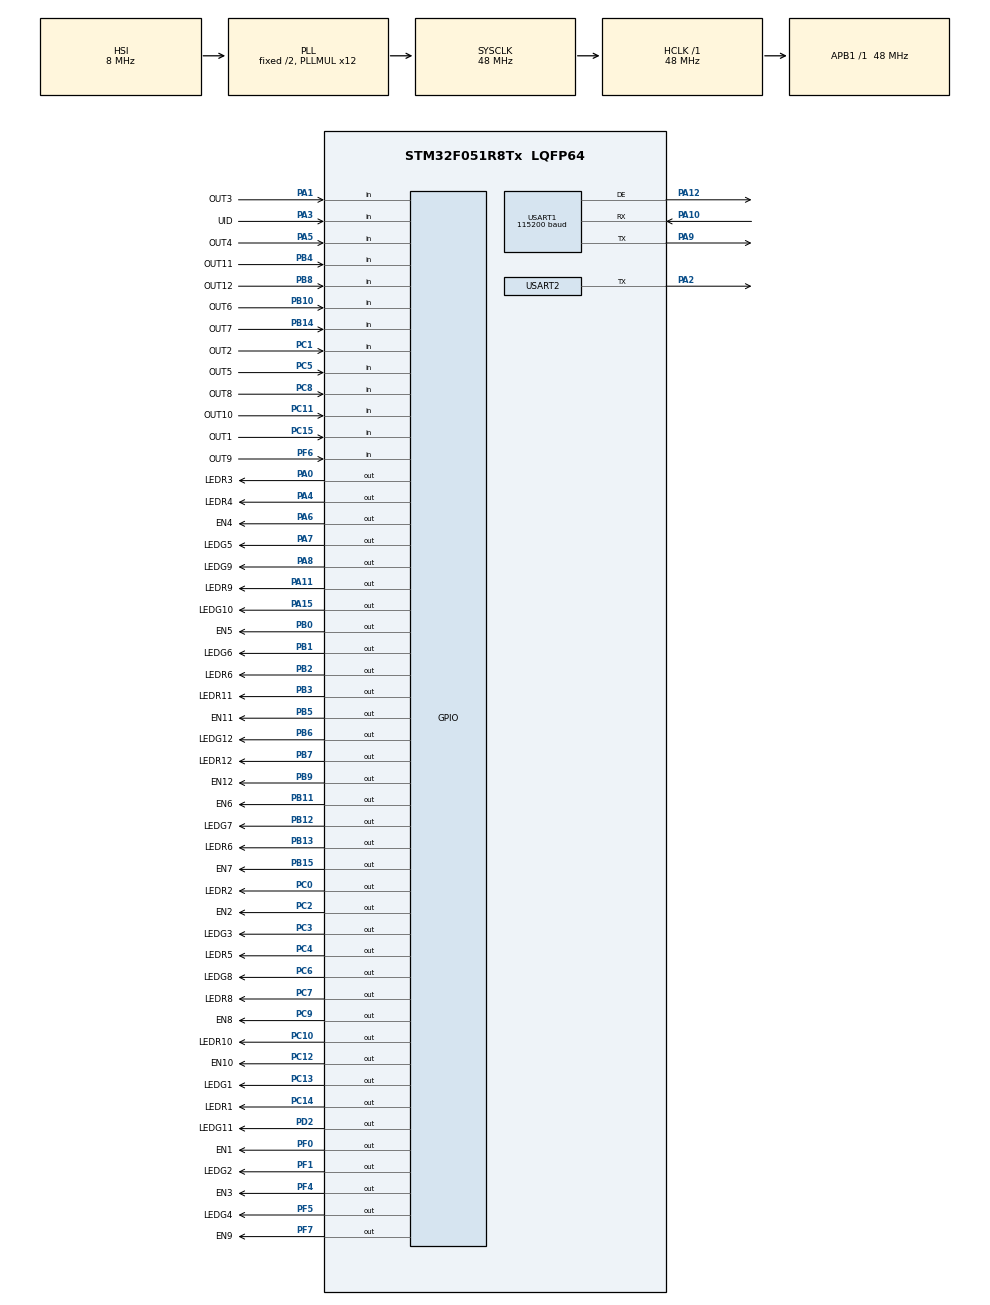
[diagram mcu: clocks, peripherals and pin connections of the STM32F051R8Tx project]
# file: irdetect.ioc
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Dma.Request0=USART1_RX
Dma.USART1_RX.0.Direction=DMA_PERIPH_TO_MEMORY
Dma.USART1_RX.0.Instance=DMA1_Channel3
Dma.USART1_RX.0.MemDataAlignment=DMA_MDATAALIGN_BYTE
Dma.USART1_RX.0.MemInc=DMA_MINC_ENABLE
Dma.USART1_RX.0.Mode=DMA_NORMAL
Dma.USART1_RX.0.PeriphDataAlignment=DMA_PDATAALIGN_BYTE
Dma.USART1_RX.0.PeriphInc=DMA_PINC_DISABLE
Dma.USART1_RX.0.Priority=DMA_PRIORITY_LOW
IWDG.Prescaler=IWDG_PRESCALER_32
IWDG.Reload=3750
IWDG.Window=3750
Mcu.Family=STM32F0
Mcu.Name=STM32F051R8Tx
Mcu.Package=LQFP64
NVIC.DMA1_Channel2_3_IRQn=true\:0\:0\:false\:false\:true\:false\:true\:true
NVIC.TIM14_IRQn=true\:1\:0\:true\:false\:true\:true\:true\:true
NVIC.USART1_IRQn=true\:0\:0\:false\:false\:true\:true\:true\:true
PA0.GPIO_Label=LEDR3
PA0.GPIO_Speed=GPIO_SPEED_FREQ_HIGH
PA0.Signal=GPIO_Output
PA1.GPIO_Label=OUT3
PA1.GPIO_PuPd=GPIO_PULLUP
PA1.Signal=GPIO_Input
PA10.Mode=Asynchronous
PA10.Signal=USART1_RX
PA11.GPIO_Label=LEDR9
PA11.GPIO_Speed=GPIO_SPEED_FREQ_HIGH
PA11.Signal=GPIO_Output
PA12.Mode=Hardware Flow Control (RS485)
PA12.Signal=USART1_DE
PA15.GPIO_Label=LEDG10
PA15.GPIO_Speed=GPIO_SPEED_FREQ_HIGH
PA15.Signal=GPIO_Output
PA2.Mode=Half_duplex(single_wire_mode)
PA2.Signal=USART2_TX
PA3.GPIO_Label=UID
PA3.GPIO_PuPd=GPIO_PULLUP
PA3.Signal=GPIO_Input
PA4.GPIO_Label=LEDR4
PA4.GPIO_Speed=GPIO_SPEED_FREQ_HIGH
PA4.Signal=GPIO_Output
PA5.GPIO_Label=OUT4
PA5.GPIO_PuPd=GPIO_PULLUP
PA5.Signal=GPIO_Input
PA6.GPIO_Label=EN4
PA6.GPIO_Speed=GPIO_SPEED_FREQ_HIGH
PA6.Signal=GPIO_Output
PA7.GPIO_Label=LEDG5
PA7.GPIO_Speed=GPIO_SPEED_FREQ_HIGH
PA7.Signal=GPIO_Output
PA8.GPIO_Label=LEDG9
PA8.GPIO_Speed=GPIO_SPEED_FREQ_HIGH
PA8.Signal=GPIO_Output
PA9.Mode=Asynchronous
PA9.Signal=USART1_TX
PB0.GPIO_Label=EN5
PB0.GPIO_Speed=GPIO_SPEED_FREQ_HIGH
PB0.Signal=GPIO_Output
PB1.GPIO_Label=LEDG6
PB1.GPIO_Speed=GPIO_SPEED_FREQ_HIGH
PB1.Signal=GPIO_Output
PB10.GPIO_Label=OUT6
PB10.GPIO_PuPd=GPIO_PULLUP
PB10.Signal=GPIO_Input
PB11.GPIO_Label=EN6
PB11.GPIO_Speed=GPIO_SPEED_FREQ_HIGH
PB11.Signal=GPIO_Output
PB12.GPIO_Label=LEDG7
PB12.GPIO_Speed=GPIO_SPEED_FREQ_HIGH
PB12.Signal=GPIO_Output
PB13.GPIO_Label=LEDR6
PB13.GPIO_Speed=GPIO_SPEED_FREQ_HIGH
PB13.Signal=GPIO_Output
PB14.GPIO_Label=OUT7
PB14.GPIO_PuPd=GPIO_PULLUP
PB14.Signal=GPIO_Input
PB15.GPIO_Label=EN7
PB15.GPIO_Speed=GPIO_SPEED_FREQ_HIGH
PB15.Signal=GPIO_Output
PB2.GPIO_Label=LEDR6
PB2.GPIO_Speed=GPIO_SPEED_FREQ_HIGH
PB2.Signal=GPIO_Output
PB3.GPIO_Label=LEDR11
PB3.GPIO_Speed=GPIO_SPEED_FREQ_HIGH
PB3.Signal=GPIO_Output
PB4.GPIO_Label=OUT11
PB4.GPIO_PuPd=GPIO_PULLUP
PB4.Signal=GPIO_Input
PB5.GPIO_Label=EN11
PB5.GPIO_Speed=GPIO_SPEED_FREQ_HIGH
PB5.Signal=GPIO_Output
PB6.GPIO_FM6=__NULL
PB6.GPIO_Label=LEDG12
PB6.GPIO_Speed=GPIO_SPEED_FREQ_HIGH
PB6.Signal=GPIO_Output
PB7.GPIO_FM7=__NULL
PB7.GPIO_Label=LEDR12
PB7.GPIO_Speed=GPIO_SPEED_FREQ_HIGH
PB7.Signal=GPIO_Output
PB8.GPIO_Label=OUT12
PB8.GPIO_PuPd=GPIO_PULLUP
PB8.Signal=GPIO_Input
PB9.GPIO_FM9=__NULL
PB9.GPIO_Label=EN12
PB9.GPIO_Speed=GPIO_SPEED_FREQ_HIGH
PB9.Signal=GPIO_Output
PC0.GPIO_Label=LEDR2
PC0.GPIO_Speed=GPIO_SPEED_FREQ_HIGH
PC0.Signal=GPIO_Output
PC1.GPIO_Label=OUT2
PC1.GPIO_PuPd=GPIO_PULLUP
PC1.Signal=GPIO_Input
PC10.GPIO_Label=LEDR10
PC10.GPIO_Speed=GPIO_SPEED_FREQ_HIGH
PC10.Signal=GPIO_Output
PC11.GPIO_Label=OUT10
PC11.GPIO_PuPd=GPIO_PULLUP
PC11.Signal=GPIO_Input
PC12.GPIO_Label=EN10
PC12.GPIO_Speed=GPIO_SPEED_FREQ_HIGH
PC12.Signal=GPIO_Output
PC13.GPIO_Label=LEDG1
PC13.GPIO_Speed=GPIO_SPEED_FREQ_LOW
PC13.Signal=GPIO_Output
PC14-OSC32_IN.GPIO_Label=LEDR1
PC14-OSC32_IN.Signal=GPIO_Output
PC15-OSC32_OUT.GPIO_Label=OUT1
PC15-OSC32_OUT.GPIO_PuPd=GPIO_PULLUP
PC15-OSC32_OUT.Signal=GPIO_Input
PC2.GPIO_Label=EN2
PC2.GPIO_Speed=GPIO_SPEED_FREQ_HIGH
PC2.Signal=GPIO_Output
PC3.GPIO_Label=LEDG3
PC3.GPIO_Speed=GPIO_SPEED_FREQ_HIGH
PC3.Signal=GPIO_Output
PC4.GPIO_Label=LEDR5
PC4.GPIO_Speed=GPIO_SPEED_FREQ_HIGH
PC4.Signal=GPIO_Output
PC5.GPIO_Label=OUT5
PC5.GPIO_PuPd=GPIO_PULLUP
PC5.Signal=GPIO_Input
PC6.GPIO_Label=LEDG8
PC6.GPIO_Speed=GPIO_SPEED_FREQ_HIGH
PC6.Signal=GPIO_Output
PC7.GPIO_Label=LEDR8
PC7.GPIO_Speed=GPIO_SPEED_FREQ_HIGH
PC7.Signal=GPIO_Output
PC8.GPIO_Label=OUT8
PC8.GPIO_PuPd=GPIO_PULLUP
PC8.Signal=GPIO_Input
PC9.GPIO_Label=EN8
PC9.GPIO_Speed=GPIO_SPEED_FREQ_HIGH
PC9.Signal=GPIO_Output
PD2.GPIO_Label=LEDG11
PD2.GPIO_Speed=GPIO_SPEED_FREQ_HIGH
PD2.Signal=GPIO_Output
PF0-OSC_IN.GPIO_Label=EN1
PF0-OSC_IN.GPIO_Speed=GPIO_SPEED_FREQ_HIGH
PF0-OSC_IN.Signal=GPIO_Output
PF1-OSC_OUT.GPIO_Label=LEDG2
PF1-OSC_OUT.GPIO_Speed=GPIO_SPEED_FREQ_HIGH
PF1-OSC_OUT.Signal=GPIO_Output
PF4.GPIO_Label=EN3
PF4.GPIO_Speed=GPIO_SPEED_FREQ_HIGH
PF4.Signal=GPIO_Output
PF5.GPIO_Label=LEDG4
PF5.GPIO_Speed=GPIO_SPEED_FREQ_HIGH
PF5.Signal=GPIO_Output
PF6.GPIO_Label=OUT9
PF6.GPIO_PuPd=GPIO_PULLUP
PF6.Signal=GPIO_Input
PF7.GPIO_Label=EN9
PF7.GPIO_Speed=GPIO_SPEED_FREQ_HIGH
PF7.Signal=GPIO_Output
ProjectManager.HeapSize=0x200
ProjectManager.StackSize=0x400
ProjectManager.TargetToolchain=MDK-ARM V5.32
RCC.AHBFreq_Value=48000000
RCC.APB1Freq_Value=48000000
RCC.APB1TimFreq_Value=48000000
RCC.HCLKFreq_Value=48000000
RCC.PLLMUL=RCC_PLL_MUL12
RCC.SYSCLKFreq_VALUE=48000000
RCC.SYSCLKSource=RCC_SYSCLKSOURCE_PLLCLK
TIM14.AutoReloadPreload=TIM_AUTORELOAD_PRELOAD_ENABLE
TIM14.Period=12008
USART1.BaudRate=115200
USART1.DMADisableonRxErrorParam=ADVFEATURE_DMA_DISABLEONRXERROR
USART1.OverrunDisableParam=ADVFEATURE_OVERRUN_DISABLE
USART1.VirtualMode-Asynchronous=VM_ASYNC
USART1.VirtualMode-Hardware\ Flow\ Control\ (RS485)=VM_ASYNC
USART2.BaudRate=115200
USART2.Mode=MODE_TX
USART2.VirtualMode-Half_duplex(single_wire_mode)=VM_ASYNC
VP_IWDG_VS_IWDG.Mode=IWDG_Activate
VP_TIM14_VS_ClockSourceINT.Mode=Enable_Timer
board=custom

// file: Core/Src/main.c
/* USER CODE BEGIN Header */
/**
  ******************************************************************************
  * @file           : main.c
  * @brief          : Main program body
  ******************************************************************************
  * @attention
  *
  * Copyright (c) 2023 STMicroelectronics.
  * All rights reserved.
  *
  * This software is licensed under terms that can be found in the LICENSE file
  * in the root directory of this software component.
  * If no LICENSE file comes with this software, it is provided AS-IS.
  *
  ******************************************************************************
  */
/* USER CODE END Header */
#include "main.h"
#include "dma.h"
#include "iwdg.h"
#include "tim.h"
#include "usart.h"
#include "gpio.h"

/* USER CODE BEGIN Includes */
#include <stdio.h>
#include <stdlib.h>
#include <string.h>
#include "user_protocol.h"
#include "common.h"
#include "user_data.h"
#include "flash_if.h"
/* USER CODE END Includes */

void SystemClock_Config(void);

/* USER CODE BEGIN 0 */
void InterruptRemap(void)
{
	__HAL_RCC_SYSCFG_CLK_ENABLE();
	memcpy((void*)RAM_ADDRESS_START, (void*)APPLICATION_ADDRESS, VECTOR_SIZE);
	__HAL_SYSCFG_REMAPMEMORY_SRAM();
  __enable_irq();//如果bootloader关闭中断，这里必须打开中断，否则会导致中断无法响应
}
/* USER CODE END 0 */

void Set_RDP_Level1(void)
{
    FLASH_OBProgramInitTypeDef obInit;

    // 解锁 Flash 和 Option Bytes
    HAL_FLASH_Unlock();
    HAL_FLASH_OB_Unlock();

    // 读取当前 Option Bytes 设置
    HAL_FLASHEx_OBGetConfig(&obInit);

    printf("at present RDP LEVEL = 0x%X\r\n", obInit.RDPLevel);

    // 如果已经是 Level 1，就不用重复设置
    if (obInit.RDPLevel != OB_RDP_LEVEL_1)
    {
        obInit.OptionType = OPTIONBYTE_RDP;
        obInit.RDPLevel = OB_RDP_LEVEL_1;

        if (HAL_FLASHEx_OBProgram(&obInit) != HAL_OK)
        {
            printf("set RDP Level 1 fail\r\n");
        }
        else
        {
            printf("set RDP Level 1 success, preparing to reset...\r\n");
            HAL_FLASH_OB_Launch(); // MCU 会复位
        }
    }
    else
    {
        printf("set RDP Level 1 success\r\n");
    }

    // 锁定 Flash
    HAL_FLASH_OB_Lock();
    HAL_FLASH_Lock();
}
int main(void)
{
  /* USER CODE BEGIN 1 */
	InterruptRemap();
  /* USER CODE END 1 */

  /* MCU Configuration--------------------------------------------------------*/

  /* Reset of all peripherals, Initializes the Flash interface and the Systick. */
  HAL_Init();

  /* USER CODE BEGIN Init */
	user_database_init();
  /* USER CODE END Init */

  /* Configure the system clock */
  SystemClock_Config();

  /* Initialize all configured peripherals */
  MX_GPIO_Init();
  MX_DMA_Init();
  MX_IWDG_Init();
  MX_TIM14_Init();
  MX_USART1_UART_Init();
  MX_USART2_UART_Init();

  Set_RDP_Level1(); // 设置RDP为1级，禁止读写Flash
  /* USER CODE BEGIN 2 */
	printSetting();
	user_start_tim();
  /* USER CODE END 2 */

  /* Infinite loop */
  while (1)
  {

    /* USER CODE BEGIN 3 */
	MX_IWDG_Refresh();
	user_protocol_handle();
	user_huart_error_check();
	user_check_device_status();
	user_led_task();
	user_UID_Task();
	user_reply_handle();
  }
  /* USER CODE END 3 */
}

void SystemClock_Config(void)
{
  RCC_OscInitTypeDef RCC_OscInitStruct = {0};
  RCC_ClkInitTypeDef RCC_ClkInitStruct = {0};
  RCC_PeriphCLKInitTypeDef PeriphClkInit = {0};

  /** Initializes the RCC Oscillators according to the specified parameters
  * in the RCC_OscInitTypeDef structure.
  */
  RCC_OscInitStruct.OscillatorType = RCC_OSCILLATORTYPE_HSI|RCC_OSCILLATORTYPE_LSI;
  RCC_OscInitStruct.HSIState = RCC_HSI_ON;
  RCC_OscInitStruct.HSICalibrationValue = RCC_HSICALIBRATION_DEFAULT;
  RCC_OscInitStruct.LSIState = RCC_LSI_ON;
  RCC_OscInitStruct.PLL.PLLState = RCC_PLL_ON;
  RCC_OscInitStruct.PLL.PLLSource = RCC_PLLSOURCE_HSI;
  RCC_OscInitStruct.PLL.PLLMUL = RCC_PLL_MUL12;
  RCC_OscInitStruct.PLL.PREDIV = RCC_PREDIV_DIV1;
  if (HAL_RCC_OscConfig(&RCC_OscInitStruct) != HAL_OK)
  {
    Error_Handler();
  }

  /** Initializes the CPU, AHB and APB buses clocks
  */
  RCC_ClkInitStruct.ClockType = RCC_CLOCKTYPE_HCLK|RCC_CLOCKTYPE_SYSCLK
                              |RCC_CLOCKTYPE_PCLK1;
  RCC_ClkInitStruct.SYSCLKSource = RCC_SYSCLKSOURCE_PLLCLK;
  RCC_ClkInitStruct.AHBCLKDivider = RCC_SYSCLK_DIV1;
  RCC_ClkInitStruct.APB1CLKDivider = RCC_HCLK_DIV1;

  if (HAL_RCC_ClockConfig(&RCC_ClkInitStruct, FLASH_LATENCY_1) != HAL_OK)
  {
    Error_Handler();
  }
  PeriphClkInit.PeriphClockSelection = RCC_PERIPHCLK_USART1;
  PeriphClkInit.Usart1ClockSelection = RCC_USART1CLKSOURCE_PCLK1;
  if (HAL_RCCEx_PeriphCLKConfig(&PeriphClkInit) != HAL_OK)
  {
    Error_Handler();
  }
}

void Error_Handler(void)
{
  __disable_irq();
  while (1)
  {
  }
}
